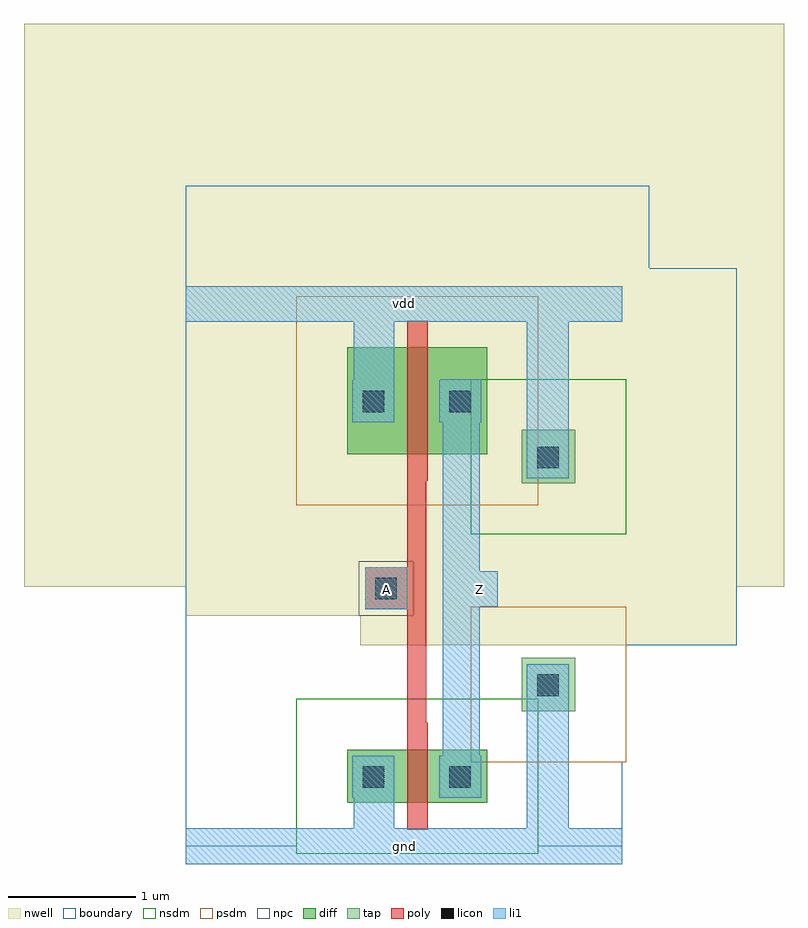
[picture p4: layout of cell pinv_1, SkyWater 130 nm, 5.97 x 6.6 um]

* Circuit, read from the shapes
.subckt pinv_1 A Z gnd vdd
XM1 Z A gnd gnd sky130_fd_pr__nfet_01v8 w=0.42 l=0.16
XM2 Z A vdd vdd sky130_fd_pr__pfet_01v8 w=0.84 l=0.16
.ends

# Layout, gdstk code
import gdstk
lib = gdstk.Library(unit=1e-6, precision=1e-09)
def R(c, l, rs):  # rectangles x0, y0, x1, y1
    for r in rs: c.add(gdstk.rectangle(r[:2], r[2:], *l))
nwell = (64, 20)
diff = (65, 20)
tap = (65, 44)
poly = (66, 20)
licon = (66, 44)
li1 = (67, 20)
nsdm = (93, 44)
psdm = (94, 20)
npc = (95, 20)
boundary = (235, 4)

contact_12 = lib.new_cell('contact_12')
R(contact_12, nwell, [(-1.27,-1.27,1.69,1.69)])
R(contact_12, diff, [(0,0,0.42,0.42)])
R(contact_12, licon, [(0.12,0.12,0.29,0.29)])
R(contact_12, li1, [(0.04,0.04,0.37,0.37)])
R(contact_12, psdm, [(-0.4,-0.4,0.82,0.82)])
R(contact_12, boundary, [(-1.27,-1.27,1.69,1.69)])

pmos_m1_w0_840_sli_dli_d = lib.new_cell('pmos_m1_w0_840_sli_dli_da_p')
R(pmos_m1_w0_840_sli_dli_d, nwell, [(-1.27,-1.27,2.37,2.11)])
R(pmos_m1_w0_840_sli_dli_d, diff, [(0,0,1.1,0.84)])
R(pmos_m1_w0_840_sli_dli_d, poly, [(0.47,-0.21,0.62,1.05), (0.47,-0.21,0.63,1.05)])
R(pmos_m1_w0_840_sli_dli_d, li1, [(0.05,0.25,0.37,0.59), (0.73,0.25,1.05,0.59)])
R(pmos_m1_w0_840_sli_dli_d, psdm, [(-0.4,-0.4,1.5,1.24)])
R(pmos_m1_w0_840_sli_dli_d, boundary, [(-1.27,-1.27,2.37,2.11)])
pmos_m1_w0_840_sli_dli_d.add(gdstk.Reference(contact_12, (0,0.21)))
pmos_m1_w0_840_sli_dli_d.add(gdstk.Reference(contact_12, (0.68,0.21)))
pmos_m1_w0_840_sli_dli_d.add(gdstk.Label('G', (0.55,0.42), layer=66, texttype=20))
pmos_m1_w0_840_sli_dli_d.add(gdstk.Label('S', (0.21,0.42), layer=67, texttype=20))
pmos_m1_w0_840_sli_dli_d.add(gdstk.Label('D', (0.89,0.42), layer=67, texttype=20))

contact_11 = lib.new_cell('contact_11')
R(contact_11, diff, [(0,0,0.42,0.42)])
R(contact_11, licon, [(0.12,0.12,0.29,0.29)])
R(contact_11, li1, [(0.04,0.04,0.37,0.37)])
R(contact_11, nsdm, [(-0.4,-0.4,0.82,0.82)])
R(contact_11, boundary, [(-0.4,-0.4,0.82,0.82)])

nmos_m1_w0_420_sli_dli_d = lib.new_cell('nmos_m1_w0_420_sli_dli_da_p')
R(nmos_m1_w0_420_sli_dli_d, diff, [(0,0,1.1,0.42)])
R(nmos_m1_w0_420_sli_dli_d, poly, [(0.47,-0.21,0.62,0.63), (0.47,-0.21,0.63,0.63)])
R(nmos_m1_w0_420_sli_dli_d, li1, [(0.05,0.05,0.37,0.37), (0.73,0.05,1.05,0.37)])
R(nmos_m1_w0_420_sli_dli_d, nsdm, [(-0.4,-0.4,1.5,0.82)])
R(nmos_m1_w0_420_sli_dli_d, boundary, [(-0.4,-0.4,1.5,0.82)])
nmos_m1_w0_420_sli_dli_d.add(gdstk.Reference(contact_11, (0,0)))
nmos_m1_w0_420_sli_dli_d.add(gdstk.Reference(contact_11, (0.68,0)))
nmos_m1_w0_420_sli_dli_d.add(gdstk.Label('G', (0.55,0.21), layer=66, texttype=20))
nmos_m1_w0_420_sli_dli_d.add(gdstk.Label('S', (0.21,0.21), layer=67, texttype=20))
nmos_m1_w0_420_sli_dli_d.add(gdstk.Label('D', (0.89,0.21), layer=67, texttype=20))

contact_13 = lib.new_cell('contact_13')
R(contact_13, nwell, [(-1.27,-1.27,1.69,1.69)])
R(contact_13, tap, [(0,0,0.42,0.42)])
R(contact_13, licon, [(0.12,0.12,0.29,0.29)])
R(contact_13, li1, [(0.04,0.04,0.37,0.37)])
R(contact_13, nsdm, [(-0.4,-0.4,0.82,0.82)])
R(contact_13, boundary, [(-1.27,-1.27,1.69,1.69)])

contact_14 = lib.new_cell('contact_14')
R(contact_14, tap, [(0,0,0.42,0.42)])
R(contact_14, licon, [(0.12,0.12,0.29,0.29)])
R(contact_14, li1, [(0.04,0.04,0.37,0.37)])
R(contact_14, psdm, [(-0.4,-0.4,0.82,0.82)])
R(contact_14, boundary, [(-0.4,-0.4,0.82,0.82)])

contact_15 = lib.new_cell('contact_15')
R(contact_15, poly, [(0,0,0.33,0.33)])
R(contact_15, licon, [(0.08,0.08,0.25,0.25)])
R(contact_15, li1, [(0,0,0.33,0.33)])
R(contact_15, npc, [(-0.05,-0.05,0.38,0.38)])
R(contact_15, boundary, [(-0.05,-0.05,0.38,0.38)])

pinv_1 = lib.new_cell('pinv_1')
R(pinv_1, nwell, [(-1.27,2.04,4.7,6.46)])
R(pinv_1, poly, [(1.74,0.97,1.89,2.87), (1.58,1.86,1.74,2.19)])
R(pinv_1, li1, [(0,-0.14,3.43,0.14), (1.32,-0.14,1.64,0.39), (2.68,0,3.01,1.27), (2.02,0.39,2.31,3.67), (1.41,1.86,1.74,2.18), (2.16,1.88,2.45,2.16), (2.68,3.06,3.01,4.26), (1.32,3.33,1.64,4.4), (0,4.12,3.43,4.4)])
R(pinv_1, boundary, [(0,0,3.43,4.26), (0,0,3.43,4.26)])
pinv_1.add(gdstk.Reference(pmos_m1_w0_840_sli_dli_d, (1.27,3.08)))
pinv_1.add(gdstk.Reference(nmos_m1_w0_420_sli_dli_d, (1.27,0.34)))
pinv_1.add(gdstk.Reference(contact_13, (2.64,2.85)))
pinv_1.add(gdstk.Reference(contact_14, (2.64,1.06)))
pinv_1.add(gdstk.Reference(contact_15, (1.41,1.86)))
pinv_1.add(gdstk.Label('A', (1.575,2.02), layer=67, texttype=20))
pinv_1.add(gdstk.Label('Z', (2.305,2.02), layer=67, texttype=20))
pinv_1.add(gdstk.Label('gnd', (1.715,0), layer=67, texttype=20))
pinv_1.add(gdstk.Label('vdd', (1.715,4.26), layer=67, texttype=20))

lib.write_gds('pinv_1.gds')
